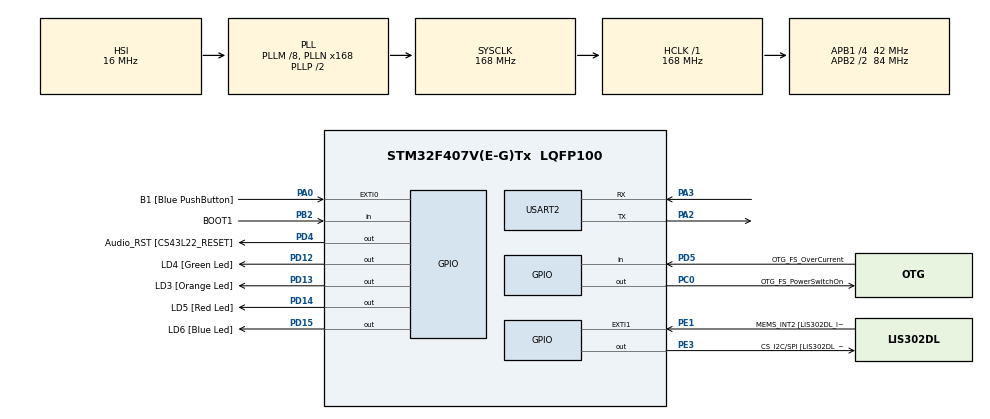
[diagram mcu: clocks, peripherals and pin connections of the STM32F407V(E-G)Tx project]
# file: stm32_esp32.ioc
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Mcu.Family=STM32F4
Mcu.Name=STM32F407V(E-G)Tx
Mcu.Package=LQFP100
NVIC.PriorityGroup=NVIC_PRIORITYGROUP_0
PA0-WKUP.GPIO_Label=B1 [Blue PushButton]
PA0-WKUP.Signal=GPXTI0
PA10.GPIO_Label=OTG_FS_ID
PA10.GPIO_Mode=GPIO_MODE_AF_PP
PA10.GPIO_PuPd=GPIO_NOPULL
PA10.GPIO_Speed=GPIO_SPEED_FREQ_LOW
PA10.Signal=USB_OTG_FS_ID
PA11.GPIO_Label=OTG_FS_DM
PA11.GPIO_Mode=GPIO_MODE_AF_PP
PA11.GPIO_PuPd=GPIO_NOPULL
PA11.GPIO_Speed=GPIO_SPEED_FREQ_LOW
PA11.Signal=USB_OTG_FS_DM
PA12.GPIO_Label=OTG_FS_DP
PA12.GPIO_Mode=GPIO_MODE_AF_PP
PA12.GPIO_PuPd=GPIO_NOPULL
PA12.GPIO_Speed=GPIO_SPEED_FREQ_LOW
PA12.Signal=USB_OTG_FS_DP
PA13.GPIO_Label=SWDIO
PA13.Signal=SYS_JTMS-SWDIO
PA14.GPIO_Label=SWCLK
PA14.Signal=SYS_JTCK-SWCLK
PA2.Mode=Asynchronous
PA2.Signal=USART2_TX
PA3.Mode=Asynchronous
PA3.Signal=USART2_RX
PA4.GPIO_Label=I2S3_WS [CS43L22_LRCK]
PA4.GPIO_Mode=GPIO_MODE_AF_PP
PA4.GPIO_PuPd=GPIO_NOPULL
PA4.GPIO_Speed=GPIO_SPEED_FREQ_LOW
PA4.Signal=I2S3_WS
PA5.GPIO_Label=SPI1_SCK [LIS302DL_SCL/SPC]
PA5.GPIO_Mode=GPIO_MODE_AF_PP
PA5.GPIO_PuPd=GPIO_NOPULL
PA5.GPIO_Speed=GPIO_SPEED_FREQ_LOW
PA5.Signal=SPI1_SCK
PA6.GPIO_Label=SPI1_MISO [LIS302DL_SDO]
PA6.GPIO_Mode=GPIO_MODE_AF_PP
PA6.GPIO_PuPd=GPIO_NOPULL
PA6.GPIO_Speed=GPIO_SPEED_FREQ_LOW
PA6.Signal=SPI1_MISO
PA7.GPIO_Label=SPI1_MOSI [LIS302DL_SDA/SDI/SDO]
PA7.GPIO_Mode=GPIO_MODE_AF_PP
PA7.GPIO_PuPd=GPIO_NOPULL
PA7.GPIO_Speed=GPIO_SPEED_FREQ_LOW
PA7.Signal=SPI1_MOSI
PA9.GPIO_Label=VBUS_FS
PA9.GPIO_Mode=GPIO_MODE_INPUT
PA9.GPIO_PuPd=GPIO_NOPULL
PA9.Signal=USB_OTG_FS_VBUS
PB10.GPIO_Label=CLK_IN [MP45DT02_CLK]
PB10.GPIO_Mode=GPIO_MODE_AF_PP
PB10.GPIO_PuPd=GPIO_NOPULL
PB10.GPIO_Speed=GPIO_SPEED_FREQ_LOW
PB10.Signal=I2S2_CK
PB2.GPIO_Label=BOOT1
PB2.GPIO_Mode=GPIO_MODE_INPUT
PB2.GPIO_PuPd=GPIO_NOPULL
PB2.Signal=GPIO_Input
PB3.GPIO_Label=SWO
PB3.Signal=SYS_JTDO-SWO
PB6.GPIO_Label=Audio_SCL [CS43L22_SCL]
PB6.GPIO_Mode=GPIO_MODE_AF_OD
PB6.GPIO_PuPd=GPIO_NOPULL
PB6.GPIO_Speed=GPIO_SPEED_FREQ_LOW
PB6.Signal=I2C1_SCL
PB9.GPIO_Label=Audio_SDA [CS43L22_SDA]
PB9.GPIO_Mode=GPIO_MODE_AF_OD
PB9.GPIO_PuPd=GPIO_NOPULL
PB9.GPIO_Speed=GPIO_SPEED_FREQ_LOW
PB9.Signal=I2C1_SDA
PC0.GPIO_Label=OTG_FS_PowerSwitchOn
PC0.GPIO_PuPd=GPIO_NOPULL
PC0.GPIO_Speed=GPIO_SPEED_FREQ_LOW
PC0.PinState=GPIO_PIN_SET
PC0.Signal=GPIO_Output
PC10.GPIO_Label=I2S3_SCK [CS43L22_SCLK]
PC10.GPIO_Mode=GPIO_MODE_AF_PP
PC10.GPIO_PuPd=GPIO_NOPULL
PC10.GPIO_Speed=GPIO_SPEED_FREQ_LOW
PC10.Signal=I2S3_CK
PC12.GPIO_Label=I2S3_SD [CS43L22_SDIN]
PC12.GPIO_Mode=GPIO_MODE_AF_PP
PC12.GPIO_PuPd=GPIO_NOPULL
PC12.GPIO_Speed=GPIO_SPEED_FREQ_LOW
PC12.Signal=I2S3_SD
PC14-OSC32_IN.GPIO_Label=PC14-OSC32_IN
PC14-OSC32_IN.Signal=RCC_OSC32_IN
PC15-OSC32_OUT.GPIO_Label=PC15-OSC32_OUT
PC15-OSC32_OUT.Signal=RCC_OSC32_OUT
PC3.GPIO_Label=PDM_OUT [MP45DT02_DOUT]
PC3.GPIO_Mode=GPIO_MODE_AF_PP
PC3.GPIO_PuPd=GPIO_NOPULL
PC3.GPIO_Speed=GPIO_SPEED_FREQ_LOW
PC3.Signal=I2S2_SD
PC7.GPIO_Label=I2S3_MCK [CS43L22_MCLK]
PC7.GPIO_Mode=GPIO_MODE_AF_PP
PC7.GPIO_PuPd=GPIO_NOPULL
PC7.GPIO_Speed=GPIO_SPEED_FREQ_LOW
PC7.Signal=I2S3_MCK
PD12.GPIO_Label=LD4 [Green Led]
PD12.GPIO_PuPd=GPIO_NOPULL
PD12.GPIO_Speed=GPIO_SPEED_FREQ_LOW
PD12.Signal=GPIO_Output
PD13.GPIO_Label=LD3 [Orange Led]
PD13.GPIO_PuPd=GPIO_NOPULL
PD13.GPIO_Speed=GPIO_SPEED_FREQ_LOW
PD13.Signal=GPIO_Output
PD14.GPIO_Label=LD5 [Red Led]
PD14.GPIO_PuPd=GPIO_NOPULL
PD14.GPIO_Speed=GPIO_SPEED_FREQ_LOW
PD14.Signal=GPIO_Output
PD15.GPIO_Label=LD6 [Blue Led]
PD15.GPIO_PuPd=GPIO_NOPULL
PD15.GPIO_Speed=GPIO_SPEED_FREQ_LOW
PD15.Signal=GPIO_Output
PD4.GPIO_Label=Audio_RST [CS43L22_RESET]
PD4.GPIO_PuPd=GPIO_NOPULL
PD4.GPIO_Speed=GPIO_SPEED_FREQ_LOW
PD4.Signal=GPIO_Output
PD5.GPIO_Label=OTG_FS_OverCurrent
PD5.GPIO_Mode=GPIO_MODE_INPUT
PD5.GPIO_PuPd=GPIO_NOPULL
PD5.Signal=GPIO_Input
PE1.GPIO_Label=MEMS_INT2 [LIS302DL_INT2]
PE1.GPIO_ModeDefaultEXTI=GPIO_MODE_EVT_RISING
PE1.GPIO_PuPd=GPIO_NOPULL
PE1.Signal=GPXTI1
PE3.GPIO_Label=CS_I2C/SPI [LIS302DL_CS_I2C/SPI]
PE3.GPIO_PuPd=GPIO_NOPULL
PE3.GPIO_Speed=GPIO_SPEED_FREQ_LOW
PE3.Signal=GPIO_Output
PH0-OSC_IN.GPIO_Label=PH0-OSC_IN
PH0-OSC_IN.Mode=HSE-External-Oscillator
PH0-OSC_IN.Signal=RCC_OSC_IN
PH1-OSC_OUT.GPIO_Label=PH1-OSC_OUT
PH1-OSC_OUT.Mode=HSE-External-Oscillator
PH1-OSC_OUT.Signal=RCC_OSC_OUT
ProjectManager.HeapSize=0x200
ProjectManager.StackSize=0x400
ProjectManager.TargetToolchain=MDK-ARM V5.32
RCC.48MHZClocksFreq_Value=48000000
RCC.AHBFreq_Value=168000000
RCC.APB1CLKDivider=RCC_HCLK_DIV4
RCC.APB1Freq_Value=42000000
RCC.APB1TimFreq_Value=84000000
RCC.APB2CLKDivider=RCC_HCLK_DIV2
RCC.APB2Freq_Value=84000000
RCC.APB2TimFreq_Value=168000000
RCC.CortexFreq_Value=168000000
RCC.HCLKFreq_Value=168000000
RCC.HSE_VALUE=8000000
RCC.HSI_VALUE=16000000
RCC.LSE_VALUE=32768
RCC.PLLM=8
RCC.PLLN=168
RCC.PLLQ=7
RCC.SYSCLKFreq_VALUE=168000000
RCC.SYSCLKSource=RCC_SYSCLKSOURCE_PLLCLK
RCC.VCOOutputFreq_Value=336000000
USART2.VirtualMode=VM_ASYNC
board=STM32F407G-DISC1

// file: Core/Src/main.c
/* USER CODE BEGIN Header */
/**
  ******************************************************************************
  * @file           : main.c
  * @brief          : Main program body
  ******************************************************************************
  * @attention
  *
  * Copyright (c) 2024 STMicroelectronics.
  * All rights reserved.
  *
  * This software is licensed under terms that can be found in the LICENSE file
  * in the root directory of this software component.
  * If no LICENSE file comes with this software, it is provided AS-IS.
  *
  ******************************************************************************
  */
/* USER CODE END Header */
#include "main.h"

/* USER CODE BEGIN Includes */
#include <stdio.h>
#include <stdlib.h>
#include <string.h>
#include <time.h>
/* USER CODE END Includes */

UART_HandleTypeDef huart2;

void SystemClock_Config(void);
static void MX_GPIO_Init(void);
static void MX_USART2_UART_Init(void);

/* USER CODE BEGIN 0 */
/* Function to generate random date and time */
void getCurrentDateTime(char* dateTime, size_t maxSize) {
  time_t t = time(NULL);
  struct tm *tm = localtime(&t);
  strftime(dateTime, maxSize, "%Y-%m-%dT%H:%M:%S", tm);
}

/* Function to generate a JSON string with the data */
void generateJsonString(char* jsonBuffer, size_t bufferSize, const char* name, int rollNo, int subject1, int subject2, float average) {
  char dateTime[20];
  getCurrentDateTime(dateTime, sizeof(dateTime));
  snprintf(jsonBuffer, bufferSize, "{\"date\":\"%s\",\"name\":\"%s\",\"rollNo\":%d,\"subject1\":%d,\"subject2\":%d,\"average\":%.2f}", dateTime, name, rollNo, subject1, subject2, average);
}
/* USER CODE END 0 */

int main(void)
{

  /* MCU Configuration--------------------------------------------------------*/

  /* Reset of all peripherals, Initializes the Flash interface and the Systick. */
  HAL_Init();

  /* Configure the system clock */
  SystemClock_Config();

  /* Initialize all configured peripherals */
  MX_GPIO_Init();
  MX_USART2_UART_Init();
  /* USER CODE BEGIN 2 */
	uint8_t data_to_send[] = "Hello from Shubham sending data to esp32!\n";
  /* USER CODE END 2 */
	/* USER CODE BEGIN 2 */

	char jsonBuffer[100];
  const char* name = "John Doe";
  int rollNo = 123;
  int subject1 = 85;
  int subject2 = 90;
  float average = (subject1 + subject2) / 2.0f;

  generateJsonString(jsonBuffer, sizeof(jsonBuffer), name, rollNo, subject1, subject2, average);

//  HAL_UART_Transmit(&huart2, (uint8_t*)jsonBuffer, strlen(jsonBuffer), HAL_MAX_DELAY);
/* USER CODE END 2 */

  /* Infinite loop */
  while (1)
  {
//		 HAL_UART_Transmit(&huart2, (uint8_t*)jsonBuffer, strlen(jsonBuffer), HAL_MAX_DELAY);
    HAL_UART_Transmit(&huart2, data_to_send, sizeof(data_to_send), HAL_MAX_DELAY);
    HAL_Delay(1000);
  }
}

void SystemClock_Config(void)
{
  RCC_OscInitTypeDef RCC_OscInitStruct = {0};
  RCC_ClkInitTypeDef RCC_ClkInitStruct = {0};

  /** Configure the main internal regulator output voltage
  */
  __HAL_RCC_PWR_CLK_ENABLE();
  __HAL_PWR_VOLTAGESCALING_CONFIG(PWR_REGULATOR_VOLTAGE_SCALE1);

  /** Initializes the RCC Oscillators according to the specified parameters
  * in the RCC_OscInitTypeDef structure.
  */
  RCC_OscInitStruct.OscillatorType = RCC_OSCILLATORTYPE_HSI;
  RCC_OscInitStruct.HSIState = RCC_HSI_ON;
  RCC_OscInitStruct.HSICalibrationValue = RCC_HSICALIBRATION_DEFAULT;
  RCC_OscInitStruct.PLL.PLLState = RCC_PLL_ON;
  RCC_OscInitStruct.PLL.PLLSource = RCC_PLLSOURCE_HSI;
  RCC_OscInitStruct.PLL.PLLM = 8;
  RCC_OscInitStruct.PLL.PLLN = 168;
  RCC_OscInitStruct.PLL.PLLP = RCC_PLLP_DIV2;
  RCC_OscInitStruct.PLL.PLLQ = 7;
  if (HAL_RCC_OscConfig(&RCC_OscInitStruct) != HAL_OK)
  {
    Error_Handler();
  }

  /** Initializes the CPU, AHB and APB buses clocks
  */
  RCC_ClkInitStruct.ClockType = RCC_CLOCKTYPE_HCLK|RCC_CLOCKTYPE_SYSCLK
                              |RCC_CLOCKTYPE_PCLK1|RCC_CLOCKTYPE_PCLK2;
  RCC_ClkInitStruct.SYSCLKSource = RCC_SYSCLKSOURCE_PLLCLK;
  RCC_ClkInitStruct.AHBCLKDivider = RCC_SYSCLK_DIV1;
  RCC_ClkInitStruct.APB1CLKDivider = RCC_HCLK_DIV4;
  RCC_ClkInitStruct.APB2CLKDivider = RCC_HCLK_DIV2;

  if (HAL_RCC_ClockConfig(&RCC_ClkInitStruct, FLASH_LATENCY_5) != HAL_OK)
  {
    Error_Handler();
  }
}

static void MX_USART2_UART_Init(void)
{

  huart2.Instance = USART2;
  huart2.Init.BaudRate = 115200;
  huart2.Init.WordLength = UART_WORDLENGTH_8B;
  huart2.Init.StopBits = UART_STOPBITS_1;
  huart2.Init.Parity = UART_PARITY_NONE;
  huart2.Init.Mode = UART_MODE_TX_RX;
  huart2.Init.HwFlowCtl = UART_HWCONTROL_NONE;
  huart2.Init.OverSampling = UART_OVERSAMPLING_16;
  if (HAL_UART_Init(&huart2) != HAL_OK)
  {
    Error_Handler();
  }

}

static void MX_GPIO_Init(void)
{
  GPIO_InitTypeDef GPIO_InitStruct = {0};

  /* GPIO Ports Clock Enable */
  __HAL_RCC_GPIOE_CLK_ENABLE();
  __HAL_RCC_GPIOC_CLK_ENABLE();
  __HAL_RCC_GPIOH_CLK_ENABLE();
  __HAL_RCC_GPIOA_CLK_ENABLE();
  __HAL_RCC_GPIOB_CLK_ENABLE();
  __HAL_RCC_GPIOD_CLK_ENABLE();

  /*Configure GPIO pin Output Level */
  HAL_GPIO_WritePin(CS_I2C_SPI_GPIO_Port, CS_I2C_SPI_Pin, GPIO_PIN_RESET);

  /*Configure GPIO pin Output Level */
  HAL_GPIO_WritePin(OTG_FS_PowerSwitchOn_GPIO_Port, OTG_FS_PowerSwitchOn_Pin, GPIO_PIN_SET);

  /*Configure GPIO pin Output Level */
  HAL_GPIO_WritePin(GPIOD, LD4_Pin|LD3_Pin|LD5_Pin|LD6_Pin
                          |Audio_RST_Pin, GPIO_PIN_RESET);

  /*Configure GPIO pin : CS_I2C_SPI_Pin */
  GPIO_InitStruct.Pin = CS_I2C_SPI_Pin;
  GPIO_InitStruct.Mode = GPIO_MODE_OUTPUT_PP;
  GPIO_InitStruct.Pull = GPIO_NOPULL;
  GPIO_InitStruct.Speed = GPIO_SPEED_FREQ_LOW;
  HAL_GPIO_Init(CS_I2C_SPI_GPIO_Port, &GPIO_InitStruct);

  /*Configure GPIO pin : OTG_FS_PowerSwitchOn_Pin */
  GPIO_InitStruct.Pin = OTG_FS_PowerSwitchOn_Pin;
  GPIO_InitStruct.Mode = GPIO_MODE_OUTPUT_PP;
  GPIO_InitStruct.Pull = GPIO_NOPULL;
  GPIO_InitStruct.Speed = GPIO_SPEED_FREQ_LOW;
  HAL_GPIO_Init(OTG_FS_PowerSwitchOn_GPIO_Port, &GPIO_InitStruct);

  /*Configure GPIO pin : PDM_OUT_Pin */
  GPIO_InitStruct.Pin = PDM_OUT_Pin;
  GPIO_InitStruct.Mode = GPIO_MODE_AF_PP;
  GPIO_InitStruct.Pull = GPIO_NOPULL;
  GPIO_InitStruct.Speed = GPIO_SPEED_FREQ_LOW;
  GPIO_InitStruct.Alternate = GPIO_AF5_SPI2;
  HAL_GPIO_Init(PDM_OUT_GPIO_Port, &GPIO_InitStruct);

  /*Configure GPIO pin : B1_Pin */
  GPIO_InitStruct.Pin = B1_Pin;
  GPIO_InitStruct.Mode = GPIO_MODE_IT_RISING;
  GPIO_InitStruct.Pull = GPIO_NOPULL;
  HAL_GPIO_Init(B1_GPIO_Port, &GPIO_InitStruct);

  /*Configure GPIO pin : I2S3_WS_Pin */
  GPIO_InitStruct.Pin = I2S3_WS_Pin;
  GPIO_InitStruct.Mode = GPIO_MODE_AF_PP;
  GPIO_InitStruct.Pull = GPIO_NOPULL;
  GPIO_InitStruct.Speed = GPIO_SPEED_FREQ_LOW;
  GPIO_InitStruct.Alternate = GPIO_AF6_SPI3;
  HAL_GPIO_Init(I2S3_WS_GPIO_Port, &GPIO_InitStruct);

  /*Configure GPIO pins : SPI1_SCK_Pin SPI1_MISO_Pin SPI1_MOSI_Pin */
  GPIO_InitStruct.Pin = SPI1_SCK_Pin|SPI1_MISO_Pin|SPI1_MOSI_Pin;
  GPIO_InitStruct.Mode = GPIO_MODE_AF_PP;
  GPIO_InitStruct.Pull = GPIO_NOPULL;
  GPIO_InitStruct.Speed = GPIO_SPEED_FREQ_LOW;
  GPIO_InitStruct.Alternate = GPIO_AF5_SPI1;
  HAL_GPIO_Init(GPIOA, &GPIO_InitStruct);

  /*Configure GPIO pin : BOOT1_Pin */
  GPIO_InitStruct.Pin = BOOT1_Pin;
  GPIO_InitStruct.Mode = GPIO_MODE_INPUT;
  GPIO_InitStruct.Pull = GPIO_NOPULL;
  HAL_GPIO_Init(BOOT1_GPIO_Port, &GPIO_InitStruct);

  /*Configure GPIO pin : CLK_IN_Pin */
  GPIO_InitStruct.Pin = CLK_IN_Pin;
  GPIO_InitStruct.Mode = GPIO_MODE_AF_PP;
  GPIO_InitStruct.Pull = GPIO_NOPULL;
  GPIO_InitStruct.Speed = GPIO_SPEED_FREQ_LOW;
  GPIO_InitStruct.Alternate = GPIO_AF5_SPI2;
  HAL_GPIO_Init(CLK_IN_GPIO_Port, &GPIO_InitStruct);

  /*Configure GPIO pins : LD4_Pin LD3_Pin LD5_Pin LD6_Pin
                           Audio_RST_Pin */
  GPIO_InitStruct.Pin = LD4_Pin|LD3_Pin|LD5_Pin|LD6_Pin
                          |Audio_RST_Pin;
  GPIO_InitStruct.Mode = GPIO_MODE_OUTPUT_PP;
  GPIO_InitStruct.Pull = GPIO_NOPULL;
  GPIO_InitStruct.Speed = GPIO_SPEED_FREQ_LOW;
  HAL_GPIO_Init(GPIOD, &GPIO_InitStruct);

  /*Configure GPIO pins : I2S3_MCK_Pin I2S3_SCK_Pin I2S3_SD_Pin */
  GPIO_InitStruct.Pin = I2S3_MCK_Pin|I2S3_SCK_Pin|I2S3_SD_Pin;
  GPIO_InitStruct.Mode = GPIO_MODE_AF_PP;
  GPIO_InitStruct.Pull = GPIO_NOPULL;
  GPIO_InitStruct.Speed = GPIO_SPEED_FREQ_LOW;
  GPIO_InitStruct.Alternate = GPIO_AF6_SPI3;
  HAL_GPIO_Init(GPIOC, &GPIO_InitStruct);

  /*Configure GPIO pin : VBUS_FS_Pin */
  GPIO_InitStruct.Pin = VBUS_FS_Pin;
  GPIO_InitStruct.Mode = GPIO_MODE_INPUT;
  GPIO_InitStruct.Pull = GPIO_NOPULL;
  HAL_GPIO_Init(VBUS_FS_GPIO_Port, &GPIO_InitStruct);

  /*Configure GPIO pins : OTG_FS_ID_Pin OTG_FS_DM_Pin OTG_FS_DP_Pin */
  GPIO_InitStruct.Pin = OTG_FS_ID_Pin|OTG_FS_DM_Pin|OTG_FS_DP_Pin;
  GPIO_InitStruct.Mode = GPIO_MODE_AF_PP;
  GPIO_InitStruct.Pull = GPIO_NOPULL;
  GPIO_InitStruct.Speed = GPIO_SPEED_FREQ_LOW;
  GPIO_InitStruct.Alternate = GPIO_AF10_OTG_FS;
  HAL_GPIO_Init(GPIOA, &GPIO_InitStruct);

  /*Configure GPIO pin : OTG_FS_OverCurrent_Pin */
  GPIO_InitStruct.Pin = OTG_FS_OverCurrent_Pin;
  GPIO_InitStruct.Mode = GPIO_MODE_INPUT;
  GPIO_InitStruct.Pull = GPIO_NOPULL;
  HAL_GPIO_Init(OTG_FS_OverCurrent_GPIO_Port, &GPIO_InitStruct);

  /*Configure GPIO pins : Audio_SCL_Pin Audio_SDA_Pin */
  GPIO_InitStruct.Pin = Audio_SCL_Pin|Audio_SDA_Pin;
  GPIO_InitStruct.Mode = GPIO_MODE_AF_OD;
  GPIO_InitStruct.Pull = GPIO_NOPULL;
  GPIO_InitStruct.Speed = GPIO_SPEED_FREQ_LOW;
  GPIO_InitStruct.Alternate = GPIO_AF4_I2C1;
  HAL_GPIO_Init(GPIOB, &GPIO_InitStruct);

  /*Configure GPIO pin : MEMS_INT2_Pin */
  GPIO_InitStruct.Pin = MEMS_INT2_Pin;
  GPIO_InitStruct.Mode = GPIO_MODE_EVT_RISING;
  GPIO_InitStruct.Pull = GPIO_NOPULL;
  HAL_GPIO_Init(MEMS_INT2_GPIO_Port, &GPIO_InitStruct);

}

void Error_Handler(void)
{
  __disable_irq();
  while (1)
  {
  }
}
